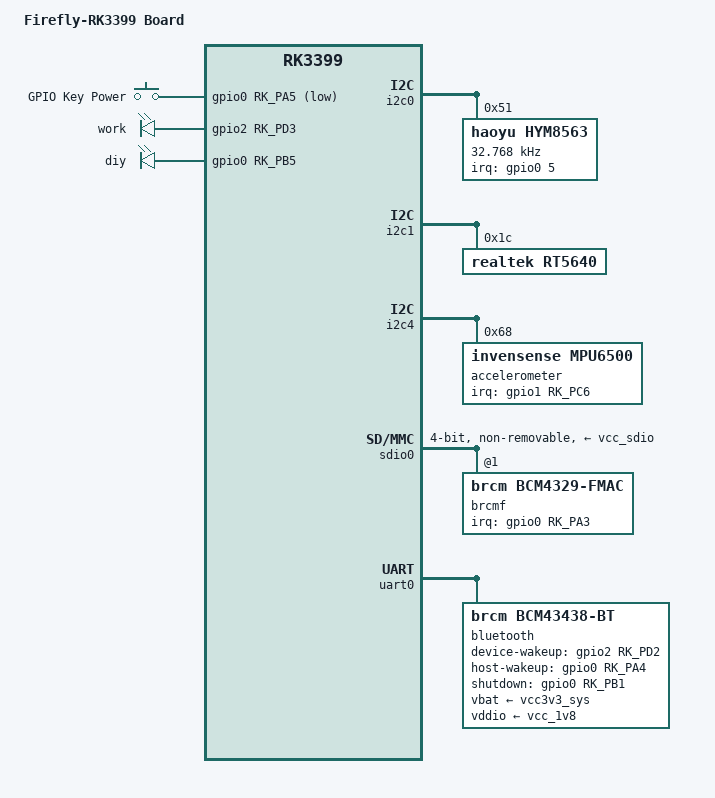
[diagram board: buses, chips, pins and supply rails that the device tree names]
// SPDX-License-Identifier: (GPL-2.0+ OR MIT)
/*
 * Copyright (c) 2017 T-Chip Intelligent Technology Co., Ltd
 */

/dts-v1/;
#include "rk3399-roc-pc-mezzanine.dts"

/ {
	model = "Firefly-RK3399 Board";
	compatible = "firefly,roc-rk3399-pc", "rockchip,rk3399";

	gpio-keys {
		compatible = "gpio-keys";
		autorepeat;
		pinctrl-names = "default";
		pinctrl-0 = <&pwrbtn>;

		power {
			debounce-interval = <100>;
			gpios = <&gpio0 RK_PA5 GPIO_ACTIVE_LOW>;
			label = "GPIO Key Power";
			linux,code = <KEY_POWER>;
			wakeup-source;
		};
	};

	leds {
		compatible = "gpio-leds";
		pinctrl-names = "default";
		pinctrl-0 = <&work_led_pin>, <&diy_led_pin>;

		work_led: led-0 {
			label = "work";
			default-state = "on";
			gpios = <&gpio2 RK_PD3 GPIO_ACTIVE_HIGH>;
		};

		diy_led: led-1 {
			label = "diy";
			default-state = "off";
			gpios = <&gpio0 RK_PB5 GPIO_ACTIVE_HIGH>;
		};
	};

	rt5640-sound {
		compatible = "simple-audio-card";
		simple-audio-card,name = "rockchip,rt5640-codec";
		simple-audio-card,format = "i2s";
		simple-audio-card,mclk-fs = <256>;
		simple-audio-card,widgets =
			"Microphone", "Mic Jack",
			"Headphone", "Headphone Jack";
		simple-audio-card,routing =
			"Mic Jack", "MICBIAS1",
			"IN1P", "Mic Jack",
			"Headphone Jack", "HPOL",
			"Headphone Jack", "HPOR";

		simple-audio-card,cpu {
			sound-dai = <&i2s1>;
		};

		simple-audio-card,codec {
			sound-dai = <&rt5640>;
		};
	};

};

&rk808{
	rtc {
		compatible = "rk808-rtc";	
		status = "disabled";
	};
};

&i2c0 {
	status = "okay";
	hym8563: hym8563@51 {
		compatible = "haoyu,hym8563";
		reg = <0x51>;
		interrupt-parent = <&gpio0>;
		interrupts = <5 IRQ_TYPE_EDGE_FALLING>;
		pinctrl-names = "default";
		#clock-cells = <0>;
		clock-frequency = <32768>;
		clock-output-names = "xin32k";
	};
};

&i2c1 {
	i2c-scl-rising-time-ns = <300>;
	i2c-scl-falling-time-ns = <15>;
	status = "okay";

	rt5640: rt5640@1c {
		compatible = "realtek,rt5640";
		reg = <0x1c>;
		clocks = <&cru SCLK_I2S_8CH_OUT>;
		clock-names = "mclk";
		realtek,in1-differential;
		#sound-dai-cells = <0>;
		pinctrl-names = "default";
		pinctrl-0 = <&rt5640_hpcon>;
	};
};

&i2c4 {
	i2c-scl-rising-time-ns = <600>;
	i2c-scl-falling-time-ns = <20>;
	status = "okay";

	accelerometer@68 {
		compatible = "invensense,mpu6500";
		reg = <0x68>;
		interrupt-parent = <&gpio1>;
		interrupts = <RK_PC6 IRQ_TYPE_EDGE_RISING>;
	};
};

&pinctrl {
	bt {
		bt_host_wake_l: bt-host-wake-l {
			rockchip,pins = <0 RK_PA4 RK_FUNC_GPIO &pcfg_pull_none>;
		};

		bt_reg_on_h: bt-reg-on-h {
			rockchip,pins = <0 RK_PB1 RK_FUNC_GPIO &pcfg_pull_none>;
		};

		bt_wake_l: bt-wake-l {
			rockchip,pins = <2 RK_PD2 RK_FUNC_GPIO &pcfg_pull_none>;
		};
	};

	buttons {
		pwrbtn: pwrbtn {
			rockchip,pins = <0 RK_PA5 RK_FUNC_GPIO &pcfg_pull_up>;
		};
	};

	lcd-panel {
		lcd_panel_reset: lcd-panel-reset {
			rockchip,pins = <4 RK_PD6 RK_FUNC_GPIO &pcfg_pull_up>;
		};
	};

	pcie {
		pcie_pwr_en: pcie-pwr-en {
			rockchip,pins = <1 RK_PC1 RK_FUNC_GPIO &pcfg_pull_none>;
		};

		pcie_3g_drv: pcie-3g-drv {
			rockchip,pins = <0 RK_PA2 RK_FUNC_GPIO &pcfg_pull_up>;
		};
	};

	pmic {
		vsel1_pin: vsel1-pin {
			rockchip,pins = <1 RK_PC2 RK_FUNC_GPIO &pcfg_pull_down>;
		};

		vsel2_pin: vsel2-pin {
			rockchip,pins = <1 RK_PB6 RK_FUNC_GPIO &pcfg_pull_down>;
		};
	};

	sdio-pwrseq {
		wifi_enable_h: wifi-enable-h {
			rockchip,pins = <0 RK_PB2 RK_FUNC_GPIO &pcfg_pull_none>;
		};
	};

	rt5640 {
		rt5640_hpcon: rt5640-hpcon {
			rockchip,pins = <4 RK_PC5 RK_FUNC_GPIO &pcfg_pull_none>;
		};
	};

	pmic {
		pmic_int_l: pmic-int-l {
			rockchip,pins = <1 RK_PC5 RK_FUNC_GPIO &pcfg_pull_up>;
		};
	};

	usb2 {
		vcc5v0_host_en: vcc5v0-host-en {
			rockchip,pins = <1 RK_PA0 RK_FUNC_GPIO &pcfg_pull_none>;
		};
	};

	wifi {
		wifi_host_wake_l: wifi-host-wake-l {
			rockchip,pins = <0 RK_PA3 RK_FUNC_GPIO &pcfg_pull_none>;
		};
	};

	leds {
		work_led_pin: work-led-pin {
			rockchip,pins = <2 RK_PD3 RK_FUNC_GPIO &pcfg_pull_none>;
		};

		diy_led_pin: diy-led-pin {
			rockchip,pins = <0 RK_PB5 RK_FUNC_GPIO &pcfg_pull_none>;
		};
	};
};


&sdio0 {
	/* WiFi & BT combo module Ampak AP6356S */
	bus-width = <4>;
	cap-sdio-irq;
	cap-sd-highspeed;
	keep-power-in-suspend;
	mmc-pwrseq = <&sdio_pwrseq>;
	non-removable;
	num-slots = <1>;
	pinctrl-names = "default";
	pinctrl-0 = <&sdio0_bus4 &sdio0_cmd &sdio0_clk>;
	sd-uhs-sdr104;

	/* Power supply */
	vqmmc-supply = &vcc1v8_s3;	/* IO line */
	vmmc-supply = &vcc_sdio;	/* card's power */

	status = "okay";

	brcmf: wifi@1 {
		compatible = "brcm,bcm4329-fmac";
		interrupt-parent = <&gpio0>;
		interrupts = <RK_PA3 GPIO_ACTIVE_HIGH>;
		interrupt-names = "host-wake";
		brcm,drive-strength = <5>;
		pinctrl-names = "default";
		pinctrl-0 = <&wifi_host_wake_l>;
	};
};

&uart0 {
	pinctrl-names = "default";
	pinctrl-0 = <&uart0_xfer &uart0_rts &uart0_cts>;
	status = "okay";

	bluetooth {
		compatible = "brcm,bcm43438-bt";
		clocks = <&rk808 1>;
		clock-names = "lpo";
		device-wakeup-gpios = <&gpio2 RK_PD2 GPIO_ACTIVE_HIGH>;
		host-wakeup-gpios = <&gpio0 RK_PA4 GPIO_ACTIVE_HIGH>;
		shutdown-gpios = <&gpio0 RK_PB1 GPIO_ACTIVE_HIGH>;
		max-speed = <4000000>;
		pinctrl-names = "default";
		pinctrl-0 = <&bt_reg_on_h &bt_host_wake_l &bt_wake_l>;
		vbat-supply = <&vcc3v3_sys>;
		vddio-supply = <&vcc_1v8>;
	};
};
